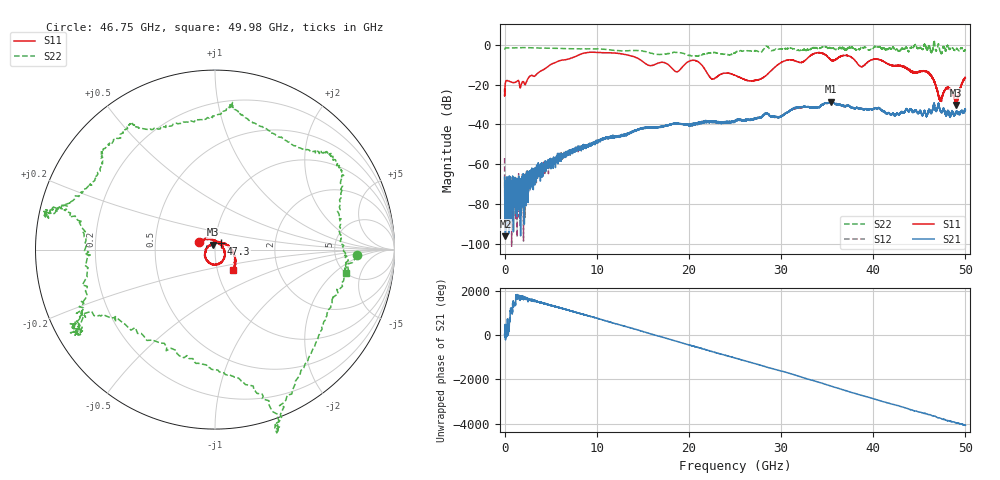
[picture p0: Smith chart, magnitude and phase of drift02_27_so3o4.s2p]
!Created with skrf (http://scikit-rf.org).
# Hz S RI R 50.0
!freq ReS11 ImS11 ReS21 ImS21 ReS12 ImS12 ReS22 ImS22
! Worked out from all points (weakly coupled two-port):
!   10001 points, 300 kHz to 50 GHz, reference 50 ohm
!   highest |S21| = -28.53 dB at 35.39 GHz (marker M1); lowest = -96.3 dB at 90.3 MHz (marker M2)
!   lowest |S11| = -30.3 dB at 49.02 GHz (marker M3), VSWR 1.06, Z = 48.7 + j2.76 ohm
!   |S11| at or under -10 dB: start of sweep to 4.957 GHz; 21.38 GHz to 29.63 GHz (8.251 GHz wide, 32.3 % of centre); 41.87 GHz to end of sweep (the widest 3 of 11)
!   |S22| runs from -5.7 to 2.3 dB; largest |S21 - S12| = 0.0033
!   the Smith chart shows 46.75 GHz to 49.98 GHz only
!   S11 on the Smith chart (normalised r, x): 46.75 GHz: 0.83, +0.07; 47.3 GHz: 1.06, +0.07; 49.98 GHz: 1.19, -0.27
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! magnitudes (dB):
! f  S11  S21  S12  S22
! 300 kHz  -22.3  -66.5  -56.9  -2.0
! 90.3 MHz  -18.8  -96.3  -86.0  -1.5
! 275.3 MHz  -17.9  -76.6  -83.6  -1.4
! 1.86 GHz  -19.2  -72.3  -78.8  -1.3
! 3.68 GHz  -13.9  -61.7  -61.8  -1.5
! 8.335 GHz  -4.5  -52.6  -51.7  -1.9
! 16.67 GHz  -9.1  -41.4  -41.3  -4.7
! 18.7 GHz  -13.5  -39.8  -39.6  -3.7
! 20.6 GHz  -7.7  -40.0  -40.2  -5.7
! 22.51 GHz  -17.1  -38.4  -38.5  -3.7
! 25 GHz  -15.3  -38.1  -38.4  -3.9
! 27.5 GHz  -17.6  -36.6  -36.6  -3.2
! 33.34 GHz  -4.9  -31.6  -31.3  -1.6
! 35.39 GHz  -7.4  -28.5  -28.7  -1.4
! 41.67 GHz  -9.7  -34.2  -34.1  -1.8
! 45.78 GHz  -13.4  -35.3  -35.6  -1.9
! 46.75 GHz  -19.9  -32.7  -32.7  -2.0
! 47.3 GHz  -26.5  -33.3  -33.2  -3.5
! 48.13 GHz  -21.3  -33.5  -33.1  -0.5
! 49.02 GHz  -30.3  -34.1  -34.0  -2.0
! 49.98 GHz  -16.4  -33.5  -32.7  -2.6
! 50 GHz  -16.5  -32.7  -32.7  -2.7
